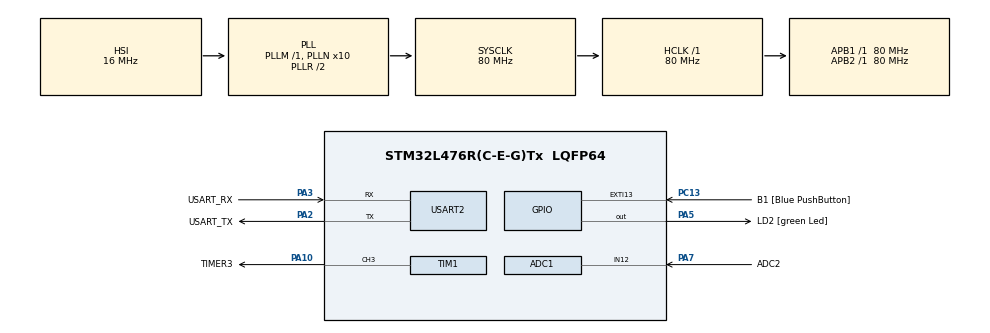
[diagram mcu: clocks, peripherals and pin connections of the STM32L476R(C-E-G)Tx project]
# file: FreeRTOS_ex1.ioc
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ADC1.Channel-1\#ChannelRegularConversion=ADC_CHANNEL_12
ADC1.ClockPrescaler=ADC_CLOCK_ASYNC_DIV8
ADC1.NbrOfConversionFlag=1
ADC1.OffsetNumber-1\#ChannelRegularConversion=ADC_OFFSET_NONE
ADC1.Rank-1\#ChannelRegularConversion=1
ADC1.SamplingTime-1\#ChannelRegularConversion=ADC_SAMPLETIME_640CYCLES_5
ADC1.master=1
Mcu.Family=STM32L4
Mcu.Name=STM32L476R(C-E-G)Tx
Mcu.Package=LQFP64
Mcu.UserConstants=TIM_PRESCALER,7999;TIM_PERIOD,9999
NVIC.PriorityGroup=NVIC_PRIORITYGROUP_4
NVIC.TIM6_DAC_IRQn=true\:0\:0\:false\:false\:true\:true\:true\:true
PA10.GPIO_Label=TIMER3
PA10.Signal=S_TIM1_CH3
PA13\ (JTMS-SWDIO).GPIO_Label=TMS
PA13\ (JTMS-SWDIO).Mode=Serial_Wire
PA13\ (JTMS-SWDIO).Signal=SYS_JTMS-SWDIO
PA14\ (JTCK-SWCLK).GPIO_Label=TCK
PA14\ (JTCK-SWCLK).Mode=Serial_Wire
PA14\ (JTCK-SWCLK).Signal=SYS_JTCK-SWCLK
PA2.GPIO_Label=USART_TX
PA2.GPIO_Mode=GPIO_MODE_AF_PP
PA2.GPIO_PuPd=GPIO_NOPULL
PA2.GPIO_Speed=GPIO_SPEED_FREQ_VERY_HIGH
PA2.Mode=Asynchronous
PA2.Signal=USART2_TX
PA3.GPIO_Label=USART_RX
PA3.GPIO_Mode=GPIO_MODE_AF_PP
PA3.GPIO_PuPd=GPIO_NOPULL
PA3.GPIO_Speed=GPIO_SPEED_FREQ_VERY_HIGH
PA3.Mode=Asynchronous
PA3.Signal=USART2_RX
PA5.GPIO_Label=LD2 [green Led]
PA5.GPIO_ModeDefaultOutputPP=GPIO_MODE_OUTPUT_PP
PA5.GPIO_PuPd=GPIO_NOPULL
PA5.GPIO_Speed=GPIO_SPEED_FREQ_LOW
PA5.Signal=GPIO_Output
PA7.GPIO_Label=ADC2
PA7.Signal=ADCx_IN12
PB3\ (JTDO-TRACESWO).GPIO_Label=SWO
PB3\ (JTDO-TRACESWO).Signal=SYS_JTDO-SWO
PC13.GPIO_Label=B1 [Blue PushButton]
PC13.GPIO_ModeDefaultEXTI=GPIO_MODE_IT_FALLING
PC13.GPIO_PuPd=GPIO_NOPULL
PC13.Signal=GPXTI13
PC14-OSC32_IN\ (PC14).Mode=LSE-External-Oscillator
PC14-OSC32_IN\ (PC14).Signal=RCC_OSC32_IN
PC15-OSC32_OUT\ (PC15).Mode=LSE-External-Oscillator
PC15-OSC32_OUT\ (PC15).Signal=RCC_OSC32_OUT
PH0-OSC_IN\ (PH0).Signal=RCC_OSC_IN
PH1-OSC_OUT\ (PH1).Signal=RCC_OSC_OUT
ProjectManager.HeapSize=0x200
ProjectManager.StackSize=0x400
ProjectManager.TargetToolchain=CMake
RCC.ADCFreq_Value=64000000
RCC.AHBFreq_Value=80000000
RCC.APB1Freq_Value=80000000
RCC.APB1TimFreq_Value=80000000
RCC.APB2Freq_Value=80000000
RCC.APB2TimFreq_Value=80000000
RCC.CortexFreq_Value=80000000
RCC.HCLKFreq_Value=80000000
RCC.HSE_VALUE=8000000
RCC.HSI_VALUE=16000000
RCC.MSI_VALUE=4000000
RCC.PLLN=10
RCC.PLLSourceVirtual=RCC_PLLSOURCE_HSI
RCC.PREFETCH_ENABLE=1
RCC.SYSCLKFreq_VALUE=80000000
RCC.SYSCLKSource=RCC_SYSCLKSOURCE_PLLCLK
RCC.USBFreq_Value=64000000
RCC.VCOOutputFreq_Value=160000000
SH.ADCx_IN12.0=ADC1_IN12,IN12-Single-Ended
SH.S_TIM1_CH3.0=TIM1_CH3,PWM Generation3 CH3
TIM1.Channel-PWM\ Generation3\ CH3=TIM_CHANNEL_3
TIM1.Period=5999
TIM1.Prescaler=39999
TIM1.Pulse-PWM\ Generation3\ CH3=2999
TIM6.Period=TIM_PERIOD
TIM6.Prescaler=TIM_PRESCALER
TIM6.TIM_MasterOutputTrigger=TIM_TRGO_UPDATE
USART2.VirtualMode-Asynchronous=VM_ASYNC
VP_TIM6_VS_ClockSourceINT.Mode=Enable_Timer
board=NUCLEO-L476RG

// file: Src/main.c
/* USER CODE BEGIN Header */
/**
 ******************************************************************************
 * @file           : main.c
 * @brief          : Main program body
 ******************************************************************************
 * @attention
 *
 * <h2><center>&copy; Copyright (c) 2019 STMicroelectronics.
 * All rights reserved.</center></h2>
 *
 * This software component is licensed by ST under BSD 3-Clause license,
 * the "License"; You may not use this file except in compliance with the
 * License. You may obtain a copy of the License at:
 *                        opensource.org/licenses/BSD-3-Clause
 *
 ******************************************************************************
 */
/* USER CODE END Header */
#include "main.h"
#include "adc.h"
#include "stm32l4xx_hal.h"
#include "stm32l4xx_hal_adc.h"
#include "stm32l4xx_hal_def.h"
#include "stm32l4xx_hal_tim.h"
#include "tim.h"
#include "usart.h"
#include "gpio.h"

#include "FreeRTOS.h"
#include "semphr.h"
#include "task.h"
#include "event_groups.h"

#include <stdio.h>

/* USER CODE BEGIN Includes */

// --> include all necessary headers for
// printf() redirection
// FreeRTOS related headers
/* USER CODE END Includes */

void SystemClock_Config(void);

/* USER CODE BEGIN 0 */

int _write(int file, char *ptr, int len) {
	HAL_UART_Transmit(&huart2, (uint8_t*) ptr, len, 50);
	return len;
}

#define ADC_BITS (1<<0)
// const uint8_t 0b1;

uint32_t value_adc;

uint16_t measurement;
SemaphoreHandle_t mutex;
EventGroupHandle_t event_group;

void measureTask(void *args) {

	for (;;) {

    TickType_t previous_write = xTaskGetTickCount();
    HAL_ADC_Start(&hadc1);

    if (HAL_ADC_PollForConversion(&hadc1, HAL_MAX_DELAY) == HAL_OK)
    {
      if (xSemaphoreTake(mutex, pdMS_TO_TICKS(100)) == pdTRUE) {

        measurement = HAL_ADC_GetValue(&hadc1);
        xEventGroupSetBits(event_group, ADC_BITS);

        xSemaphoreGive(mutex);

      }
      else {
        printf("Failed to get mutex in measure task");
      }
    }
    vTaskDelayUntil(&previous_write, 1000);
    // vTaskDelay(1000);
	}
}

void commTask(void *args) {

	for (;;) {

      uint16_t temp_meas = 0;
      EventBits_t bits = xEventGroupWaitBits(event_group,
                          ADC_BITS, pdTRUE, pdFALSE, 400);

      if(bits != 0)
      {
        if (xSemaphoreTake(mutex, pdMS_TO_TICKS(100)) == pdTRUE) {
          temp_meas = measurement;
          xSemaphoreGive(mutex);
        }
        else {
          printf("Failed to get mutex in comm task");
        }

        printf("ADC: %u, time: %lu\r\n", temp_meas, HAL_GetTick());
      }
      else
      {
        printf("bits wait limit reached\r\n");
      }

	}
}

/* USER CODE END 0 */

int main(void)
{

  /* MCU Configuration--------------------------------------------------------*/

  /* Reset of all peripherals, Initializes the Flash interface and the Systick. */
  HAL_Init();

  /* Configure the system clock */
  SystemClock_Config();

  /* Initialize all configured peripherals */
  MX_GPIO_Init();
  MX_USART2_UART_Init();
  MX_ADC1_Init();
  MX_TIM6_Init();
  MX_TIM1_Init();
  /* USER CODE BEGIN 2 */

	// --> start TIM1, channel 3 in PWM generation mode, no interrupts
  HAL_TIM_PWM_Start(&htim1, TIM_CHANNEL_3);
  HAL_TIM_Base_Start_IT(&htim6);
	// --> start TIM6 in interrupt mode
	// --> start ADC1
	// --> create a mutex
	// --> create all necessary tasks
	printf("Starting!\r\n");

	// --> start FreeRTOS scheduler
  mutex = xSemaphoreCreateMutex();
  event_group = xEventGroupCreate();

  xTaskCreate( measureTask, "measure_task", 256, NULL, 1, NULL);
  xTaskCreate( commTask, "comm_task", 256, NULL, 1, NULL);

  vTaskStartScheduler();

  /* USER CODE END 2 */

  /* Infinite loop */
  /* USER CODE BEGIN WHILE */
	while (1) {
    // HAL_Delay(1000);
    // // printf("test");
    // // HAL_Delay(1000);
    // HAL_ADC_Start(&hadc1);

    // if (HAL_ADC_PollForConversion(&hadc1, HAL_MAX_DELAY) == HAL_OK)
    // {
    //   measurement = HAL_ADC_GetValue(&hadc1);
    //   printf("ADC: %u, time: %lu\r\n", measurement, HAL_GetTick());
    // }

		// --> place routine reading from ADC for subtask 1

    /* USER CODE END WHILE */

	}
}

void SystemClock_Config(void)
{
  RCC_OscInitTypeDef RCC_OscInitStruct = {0};
  RCC_ClkInitTypeDef RCC_ClkInitStruct = {0};

  /** Configure the main internal regulator output voltage
  */
  if (HAL_PWREx_ControlVoltageScaling(PWR_REGULATOR_VOLTAGE_SCALE1) != HAL_OK)
  {
    Error_Handler();
  }

  /** Initializes the RCC Oscillators according to the specified parameters
  * in the RCC_OscInitTypeDef structure.
  */
  RCC_OscInitStruct.OscillatorType = RCC_OSCILLATORTYPE_HSI;
  RCC_OscInitStruct.HSIState = RCC_HSI_ON;
  RCC_OscInitStruct.HSICalibrationValue = RCC_HSICALIBRATION_DEFAULT;
  RCC_OscInitStruct.PLL.PLLState = RCC_PLL_ON;
  RCC_OscInitStruct.PLL.PLLSource = RCC_PLLSOURCE_HSI;
  RCC_OscInitStruct.PLL.PLLM = 1;
  RCC_OscInitStruct.PLL.PLLN = 10;
  RCC_OscInitStruct.PLL.PLLP = RCC_PLLP_DIV7;
  RCC_OscInitStruct.PLL.PLLQ = RCC_PLLQ_DIV2;
  RCC_OscInitStruct.PLL.PLLR = RCC_PLLR_DIV2;
  if (HAL_RCC_OscConfig(&RCC_OscInitStruct) != HAL_OK)
  {
    Error_Handler();
  }

  /** Initializes the CPU, AHB and APB buses clocks
  */
  RCC_ClkInitStruct.ClockType = RCC_CLOCKTYPE_HCLK|RCC_CLOCKTYPE_SYSCLK
                              |RCC_CLOCKTYPE_PCLK1|RCC_CLOCKTYPE_PCLK2;
  RCC_ClkInitStruct.SYSCLKSource = RCC_SYSCLKSOURCE_PLLCLK;
  RCC_ClkInitStruct.AHBCLKDivider = RCC_SYSCLK_DIV1;
  RCC_ClkInitStruct.APB1CLKDivider = RCC_HCLK_DIV1;
  RCC_ClkInitStruct.APB2CLKDivider = RCC_HCLK_DIV1;

  if (HAL_RCC_ClockConfig(&RCC_ClkInitStruct, FLASH_LATENCY_4) != HAL_OK)
  {
    Error_Handler();
  }
}

void Error_Handler(void)
{
}
